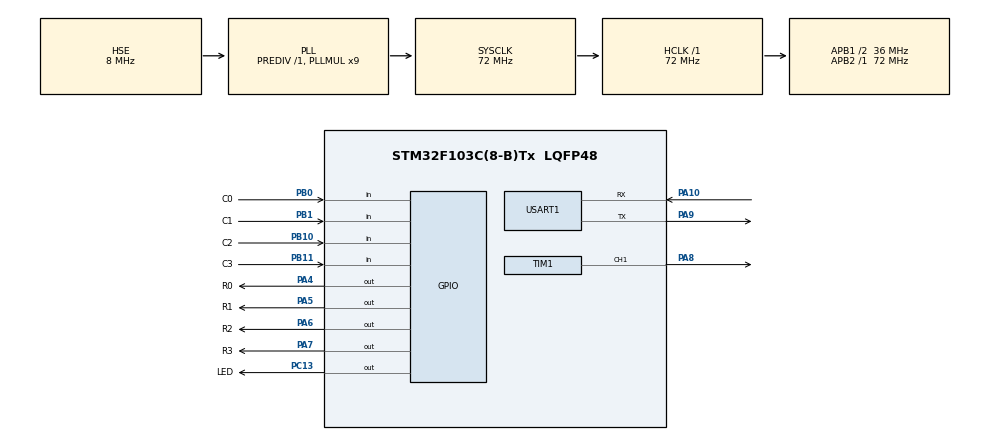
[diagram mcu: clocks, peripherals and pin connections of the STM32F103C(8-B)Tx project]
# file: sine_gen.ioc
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Mcu.Family=STM32F1
Mcu.Name=STM32F103C(8-B)Tx
Mcu.Package=LQFP48
NVIC.FLASH_IRQn=true\:0\:0\:false\:false\:true\:true
NVIC.PVD_IRQn=true\:0\:0\:false\:false\:true\:true
NVIC.PriorityGroup=NVIC_PRIORITYGROUP_4
NVIC.RCC_IRQn=true\:0\:0\:false\:false\:true\:true
NVIC.TIM1_BRK_IRQn=true\:0\:0\:false\:false\:true\:true
NVIC.TIM1_CC_IRQn=true\:0\:0\:false\:false\:true\:true
NVIC.TIM1_TRG_COM_IRQn=true\:0\:0\:false\:false\:true\:true
NVIC.TIM1_UP_IRQn=true\:0\:0\:false\:false\:true\:true
PA10.Mode=Asynchronous
PA10.Signal=USART1_RX
PA13.Mode=Serial_Wire
PA13.Signal=SYS_JTMS-SWDIO
PA14.Mode=Serial_Wire
PA14.Signal=SYS_JTCK-SWCLK
PA4.GPIO_Label=R0
PA4.Signal=GPIO_Output
PA5.GPIO_Label=R1
PA5.Signal=GPIO_Output
PA6.GPIO_Label=R2
PA6.Signal=GPIO_Output
PA7.GPIO_Label=R3
PA7.Signal=GPIO_Output
PA8.Signal=S_TIM1_CH1
PA9.Mode=Asynchronous
PA9.Signal=USART1_TX
PB0.GPIO_Label=C0
PB0.GPIO_PuPd=GPIO_PULLUP
PB0.Signal=GPIO_Input
PB1.GPIO_Label=C1
PB1.GPIO_PuPd=GPIO_PULLUP
PB1.Signal=GPIO_Input
PB10.GPIO_Label=C2
PB10.GPIO_PuPd=GPIO_PULLUP
PB10.Signal=GPIO_Input
PB11.GPIO_Label=C3
PB11.GPIO_PuPd=GPIO_PULLUP
PB11.Signal=GPIO_Input
PC13-TAMPER-RTC.GPIO_Label=LED
PC13-TAMPER-RTC.Signal=GPIO_Output
PD0-OSC_IN.Mode=HSE-External-Oscillator
PD0-OSC_IN.Signal=RCC_OSC_IN
PD1-OSC_OUT.Mode=HSE-External-Oscillator
PD1-OSC_OUT.Signal=RCC_OSC_OUT
ProjectManager.HeapSize=0x200
ProjectManager.StackSize=0x400
ProjectManager.TargetToolchain=SW4STM32
RCC.AHBFreq_Value=72000000
RCC.APB1CLKDivider=RCC_HCLK_DIV2
RCC.APB1Freq_Value=36000000
RCC.APB1TimFreq_Value=72000000
RCC.APB2Freq_Value=72000000
RCC.APB2TimFreq_Value=72000000
RCC.HCLKFreq_Value=72000000
RCC.PLLMUL=RCC_PLL_MUL9
RCC.PLLSourceVirtual=RCC_PLLSOURCE_HSE
RCC.SYSCLKFreq_VALUE=72000000
RCC.SYSCLKSource=RCC_SYSCLKSOURCE_PLLCLK
RCC.USBFreq_Value=72000000
SH.S_TIM1_CH1.0=TIM1_CH1,PWM Generation1 CH1
TIM1.Channel-PWM\ Generation1\ CH1=TIM_CHANNEL_1
TIM1.Period=359
TIM1.Prescaler=1
USART1.VirtualMode=VM_ASYNC
VP_TIM1_VS_ClockSourceINT.Mode=Internal
board=custom

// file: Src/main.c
/* USER CODE BEGIN Header */
/**
  ******************************************************************************
  * @file           : main.c
  * @brief          : Main program body
  ******************************************************************************
  ** This notice applies to any and all portions of this file
  * that are not between comment pairs USER CODE BEGIN and
  * USER CODE END. Other portions of this file, whether
  * inserted by the user or by software development tools
  * are owned by their respective copyright owners.
  *
  * COPYRIGHT(c) 2018 STMicroelectronics
  *
  * Redistribution and use in source and binary forms, with or without modification,
  * are permitted provided that the following conditions are met:
  *   1. Redistributions of source code must retain the above copyright notice,
  *      this list of conditions and the following disclaimer.
  *   2. Redistributions in binary form must reproduce the above copyright notice,
  *      this list of conditions and the following disclaimer in the documentation
  *      and/or other materials provided with the distribution.
  *   3. Neither the name of STMicroelectronics nor the names of its contributors
  *      may be used to endorse or promote products derived from this software
  *      without specific prior written permission.
  *
  * THIS SOFTWARE IS PROVIDED BY THE COPYRIGHT HOLDERS AND CONTRIBUTORS "AS IS"
  * AND ANY EXPRESS OR IMPLIED WARRANTIES, INCLUDING, BUT NOT LIMITED TO, THE
  * IMPLIED WARRANTIES OF MERCHANTABILITY AND FITNESS FOR A PARTICULAR PURPOSE ARE
  * DISCLAIMED. IN NO EVENT SHALL THE COPYRIGHT HOLDER OR CONTRIBUTORS BE LIABLE
  * FOR ANY DIRECT, INDIRECT, INCIDENTAL, SPECIAL, EXEMPLARY, OR CONSEQUENTIAL
  * DAMAGES (INCLUDING, BUT NOT LIMITED TO, PROCUREMENT OF SUBSTITUTE GOODS OR
  * SERVICES; LOSS OF USE, DATA, OR PROFITS; OR BUSINESS INTERRUPTION) HOWEVER
  * CAUSED AND ON ANY THEORY OF LIABILITY, WHETHER IN CONTRACT, STRICT LIABILITY,
  * OR TORT (INCLUDING NEGLIGENCE OR OTHERWISE) ARISING IN ANY WAY OUT OF THE USE
  * OF THIS SOFTWARE, EVEN IF ADVISED OF THE POSSIBILITY OF SUCH DAMAGE.
  *
  ******************************************************************************
  */
/* USER CODE END Header */

#include "main.h"

/* USER CODE BEGIN Includes */
#include "sinus.h"
#include "keyBoard.h"
/* USER CODE END Includes */

TIM_HandleTypeDef htim1;

UART_HandleTypeDef huart1;

void SystemClock_Config(void);
static void MX_GPIO_Init(void);
static void MX_TIM1_Init(void);
static void MX_USART1_UART_Init(void);

/* USER CODE BEGIN 0 */

static short * sinOnePointer;
static short * sinTwoPointer;

unsigned short sinOneLength;
unsigned short sinTwoLength;

unsigned short sinOneLicznik;
unsigned short sinTwoLicznik;

volatile bool debug = false;

void HAL_TIM_PWM_PulseFinishedCallback(TIM_HandleTypeDef *htim)
{
	if (htim->Instance == TIM1)
	{
		//if
		if (debug == false)
		{
			if (sinOneLength > 0 && sinTwoLength > 0)
			{
				short wynik = 0;

				sinOneLicznik ++;
				if (sinOneLicznik > sinOneLength ) sinOneLicznik = 0;

				sinTwoLicznik ++;
				if (sinTwoLicznik > sinTwoLength ) sinTwoLicznik = 0;

				wynik = sinOnePointer[sinOneLicznik] + sinTwoPointer[sinTwoLicznik];

				//wynik = sinTwoPointer[sinTwoLicznik];
				wynik /= 2;
				wynik += 180;

				TIM1->CCR1 = wynik;
			}
			else
			{
				TIM1->CCR1 = 0;
			}

		}
		else
		{
			if (sinOneLength > 0)
			{
				short wynik = 0;
				sinOneLicznik ++;
				if (sinOneLicznik > sinOneLength ) sinOneLicznik = 0;
				wynik = sinOnePointer[sinOneLicznik];
				wynik += 180;
				TIM1->CCR1 = wynik;
			}
			else
			{
				TIM1->CCR1 = 0;
			}

		}
	}
}

char DataToUart[50];
uint16_t UartSize = 0;
bool uartFlag = false;

void ButtonDown(uint8_t nrButton)
{
	if (debug == false)
	{
		switch (nrButton)
		{
		case 1:
			sinOnePointer = sin697;
			sinOneLength = sin697_len;

			sinTwoPointer = sin1209;
			sinTwoLength = sin1209_len;
			break;
		case 2:
			sinOnePointer = sin697;
			sinOneLength = sin697_len;

			sinTwoPointer = sin1336;
			sinTwoLength = sin1336_len;
			break;
		case 3:
			sinOnePointer = sin697;
			sinOneLength = sin697_len;

			sinTwoPointer = sin1477;
			sinTwoLength = sin1477_len;
			break;
		case 4:
			sinOnePointer = sin697;
			sinOneLength = sin697_len;

			sinTwoPointer = sin1633;
			sinTwoLength = sin1633_len;
			break;
		case 5:
			sinOnePointer = sin770;
			sinOneLength = sin770_len;

			sinTwoPointer = sin1209;
			sinTwoLength = sin1209_len;
			break;
		case 6:
			sinOnePointer = sin770;
			sinOneLength = sin770_len;

			sinTwoPointer = sin1336;
			sinTwoLength = sin1336_len;
			break;
		case 7:
			sinOnePointer = sin770;
			sinOneLength = sin770_len;

			sinTwoPointer = sin1477;
			sinTwoLength = sin1477_len;
			break;
		case 8:
			sinOnePointer = sin770;
			sinOneLength = sin770_len;

			sinTwoPointer = sin1633;
			sinTwoLength = sin1633_len;
			break;
		case 9:
			sinOnePointer = sin852;
			sinOneLength = sin852_len;

			sinTwoPointer = sin1209;
			sinTwoLength = sin1209_len;
			break;
		case 10:
			sinOnePointer = sin852;
			sinOneLength = sin852_len;

			sinTwoPointer = sin1336;
			sinTwoLength = sin1336_len;
			break;
		case 11:
			sinOnePointer = sin852;
			sinOneLength = sin852_len;

			sinTwoPointer = sin1477;
			sinTwoLength = sin1477_len;
			break;
		case 12:
			sinOnePointer = sin852;
			sinOneLength = sin852_len;

			sinTwoPointer = sin1633;
			sinTwoLength = sin1633_len;
			break;
		case 13:
			sinOnePointer = sin941;
			sinOneLength = sin941_len;

			sinTwoPointer = sin1209;
			sinTwoLength = sin1209_len;
			break;
		case 14:
			sinOnePointer = sin941;
			sinOneLength = sin941_len;

			sinTwoPointer = sin1336;
			sinTwoLength = sin1336_len;
			break;
		case 15:
			sinOnePointer = sin941;
			sinOneLength = sin941_len;

			sinTwoPointer = sin1477;
			sinTwoLength = sin1477_len;
			break;
		case 16:
			sinOnePointer = sin941;
			sinOneLength = sin941_len;

			sinTwoPointer = sin1633;
			sinTwoLength = sin1633_len;
			break;
		}
		sinOneLicznik = 0;
		sinTwoLicznik = 0;
	}
	else
	{
		if ( nrButton == 1) { sinOnePointer = sin697; sinOneLength = sin697_len; }
		else if (nrButton == 2) { sinOnePointer = sin770; sinOneLength = sin770_len; }
		else if (nrButton == 3) { sinOnePointer = sin852; sinOneLength = sin852_len; }
		else if (nrButton == 4) { sinOnePointer = sin941; sinOneLength = sin941_len; }
		else if (nrButton == 5) { sinOnePointer = sin1209; sinOneLength = sin1209_len; }
		else if (nrButton == 6) { sinOnePointer = sin1336; sinOneLength = sin1336_len; }
		else if (nrButton == 7) { sinOnePointer = sin1477; sinOneLength = sin1477_len; }
		else if (nrButton == 8) { sinOnePointer = sin1633; sinOneLength = sin1633_len; }

		sinOneLicznik = 0;
		sinTwoLicznik = 0;
	}

	UartSize = sprintf(DataToUart, "Down: %d\n\r", nrButton);
	uartFlag = true;
	HAL_GPIO_TogglePin(LED_GPIO_Port, LED_Pin);

}

void ButtonUp(uint8_t nrButton)
{
	sinOneLength = 0;
	sinTwoLength = 0;
}

void SysTick_MyHandler()
{
	eachInterrupt();
}
/* USER CODE END 0 */

int main(void)
{

  /* MCU Configuration--------------------------------------------------------*/

  /* Reset of all peripherals, Initializes the Flash interface and the Systick. */
  HAL_Init();

  /* Configure the system clock */
  SystemClock_Config();

  /* Initialize all configured peripherals */
  MX_GPIO_Init();
  MX_TIM1_Init();
  MX_USART1_UART_Init();
  /* USER CODE BEGIN 2 */
  HAL_TIM_Base_Start(&htim1);
  HAL_TIM_PWM_Start_IT(&htim1, TIM_CHANNEL_1);

  SetColumns(C0_GPIO_Port, C0_Pin, C1_GPIO_Port, C1_Pin, C2_GPIO_Port, C2_Pin, C3_GPIO_Port, C3_Pin);
  SetRows(R0_GPIO_Port, R0_Pin, R1_GPIO_Port, R1_Pin, R2_GPIO_Port, R2_Pin, R3_GPIO_Port, R3_Pin);
  SetCallbacks(&ButtonDown, &ButtonUp);

  TIM1->CCR1 = 180;
  /* USER CODE END 2 */

  /* Infinite loop */
  /* USER CODE BEGIN WHILE */
  while (1)
  {
	  	  if (uartFlag == true)
	  	  {
	  		  uartFlag = false;
	  		HAL_UART_Transmit (&huart1, (uint8_t *)DataToUart, UartSize, 10);
	  	  }
    /* USER CODE END WHILE */

  }
}

void SystemClock_Config(void)
{
  RCC_OscInitTypeDef RCC_OscInitStruct = {0};
  RCC_ClkInitTypeDef RCC_ClkInitStruct = {0};

  /**Initializes the CPU, AHB and APB busses clocks
  */
  RCC_OscInitStruct.OscillatorType = RCC_OSCILLATORTYPE_HSE;
  RCC_OscInitStruct.HSEState = RCC_HSE_ON;
  RCC_OscInitStruct.HSEPredivValue = RCC_HSE_PREDIV_DIV1;
  RCC_OscInitStruct.HSIState = RCC_HSI_ON;
  RCC_OscInitStruct.PLL.PLLState = RCC_PLL_ON;
  RCC_OscInitStruct.PLL.PLLSource = RCC_PLLSOURCE_HSE;
  RCC_OscInitStruct.PLL.PLLMUL = RCC_PLL_MUL9;
  if (HAL_RCC_OscConfig(&RCC_OscInitStruct) != HAL_OK)
  {
    Error_Handler();
  }
  /**Initializes the CPU, AHB and APB busses clocks
  */
  RCC_ClkInitStruct.ClockType = RCC_CLOCKTYPE_HCLK|RCC_CLOCKTYPE_SYSCLK
                              |RCC_CLOCKTYPE_PCLK1|RCC_CLOCKTYPE_PCLK2;
  RCC_ClkInitStruct.SYSCLKSource = RCC_SYSCLKSOURCE_PLLCLK;
  RCC_ClkInitStruct.AHBCLKDivider = RCC_SYSCLK_DIV1;
  RCC_ClkInitStruct.APB1CLKDivider = RCC_HCLK_DIV2;
  RCC_ClkInitStruct.APB2CLKDivider = RCC_HCLK_DIV1;

  if (HAL_RCC_ClockConfig(&RCC_ClkInitStruct, FLASH_LATENCY_2) != HAL_OK)
  {
    Error_Handler();
  }
}

static void MX_TIM1_Init(void)
{

  TIM_ClockConfigTypeDef sClockSourceConfig = {0};
  TIM_MasterConfigTypeDef sMasterConfig = {0};
  TIM_OC_InitTypeDef sConfigOC = {0};
  TIM_BreakDeadTimeConfigTypeDef sBreakDeadTimeConfig = {0};

  htim1.Instance = TIM1;
  htim1.Init.Prescaler = 0;
  htim1.Init.CounterMode = TIM_COUNTERMODE_UP;
  htim1.Init.Period = 359;
  htim1.Init.ClockDivision = TIM_CLOCKDIVISION_DIV1;
  htim1.Init.RepetitionCounter = 0;
  htim1.Init.AutoReloadPreload = TIM_AUTORELOAD_PRELOAD_DISABLE;
  if (HAL_TIM_Base_Init(&htim1) != HAL_OK)
  {
    Error_Handler();
  }
  sClockSourceConfig.ClockSource = TIM_CLOCKSOURCE_INTERNAL;
  if (HAL_TIM_ConfigClockSource(&htim1, &sClockSourceConfig) != HAL_OK)
  {
    Error_Handler();
  }
  if (HAL_TIM_PWM_Init(&htim1) != HAL_OK)
  {
    Error_Handler();
  }
  sMasterConfig.MasterOutputTrigger = TIM_TRGO_RESET;
  sMasterConfig.MasterSlaveMode = TIM_MASTERSLAVEMODE_DISABLE;
  if (HAL_TIMEx_MasterConfigSynchronization(&htim1, &sMasterConfig) != HAL_OK)
  {
    Error_Handler();
  }
  sConfigOC.OCMode = TIM_OCMODE_PWM1;
  sConfigOC.Pulse = 0;
  sConfigOC.OCPolarity = TIM_OCPOLARITY_HIGH;
  sConfigOC.OCNPolarity = TIM_OCNPOLARITY_HIGH;
  sConfigOC.OCFastMode = TIM_OCFAST_DISABLE;
  sConfigOC.OCIdleState = TIM_OCIDLESTATE_RESET;
  sConfigOC.OCNIdleState = TIM_OCNIDLESTATE_RESET;
  if (HAL_TIM_PWM_ConfigChannel(&htim1, &sConfigOC, TIM_CHANNEL_1) != HAL_OK)
  {
    Error_Handler();
  }
  sBreakDeadTimeConfig.OffStateRunMode = TIM_OSSR_DISABLE;
  sBreakDeadTimeConfig.OffStateIDLEMode = TIM_OSSI_DISABLE;
  sBreakDeadTimeConfig.LockLevel = TIM_LOCKLEVEL_OFF;
  sBreakDeadTimeConfig.DeadTime = 0;
  sBreakDeadTimeConfig.BreakState = TIM_BREAK_DISABLE;
  sBreakDeadTimeConfig.BreakPolarity = TIM_BREAKPOLARITY_HIGH;
  sBreakDeadTimeConfig.AutomaticOutput = TIM_AUTOMATICOUTPUT_DISABLE;
  if (HAL_TIMEx_ConfigBreakDeadTime(&htim1, &sBreakDeadTimeConfig) != HAL_OK)
  {
    Error_Handler();
  }
  HAL_TIM_MspPostInit(&htim1);

}

static void MX_USART1_UART_Init(void)
{

  huart1.Instance = USART1;
  huart1.Init.BaudRate = 115200;
  huart1.Init.WordLength = UART_WORDLENGTH_8B;
  huart1.Init.StopBits = UART_STOPBITS_1;
  huart1.Init.Parity = UART_PARITY_NONE;
  huart1.Init.Mode = UART_MODE_TX_RX;
  huart1.Init.HwFlowCtl = UART_HWCONTROL_NONE;
  huart1.Init.OverSampling = UART_OVERSAMPLING_16;
  if (HAL_UART_Init(&huart1) != HAL_OK)
  {
    Error_Handler();
  }

}

static void MX_GPIO_Init(void)
{
  GPIO_InitTypeDef GPIO_InitStruct = {0};

  /* GPIO Ports Clock Enable */
  __HAL_RCC_GPIOC_CLK_ENABLE();
  __HAL_RCC_GPIOD_CLK_ENABLE();
  __HAL_RCC_GPIOA_CLK_ENABLE();
  __HAL_RCC_GPIOB_CLK_ENABLE();

  /*Configure GPIO pin Output Level */
  HAL_GPIO_WritePin(LED_GPIO_Port, LED_Pin, GPIO_PIN_RESET);

  /*Configure GPIO pin Output Level */
  HAL_GPIO_WritePin(GPIOA, R0_Pin|R1_Pin|R2_Pin|R3_Pin, GPIO_PIN_RESET);

  /*Configure GPIO pin : LED_Pin */
  GPIO_InitStruct.Pin = LED_Pin;
  GPIO_InitStruct.Mode = GPIO_MODE_OUTPUT_PP;
  GPIO_InitStruct.Pull = GPIO_NOPULL;
  GPIO_InitStruct.Speed = GPIO_SPEED_FREQ_LOW;
  HAL_GPIO_Init(LED_GPIO_Port, &GPIO_InitStruct);

  /*Configure GPIO pins : R0_Pin R1_Pin R2_Pin R3_Pin */
  GPIO_InitStruct.Pin = R0_Pin|R1_Pin|R2_Pin|R3_Pin;
  GPIO_InitStruct.Mode = GPIO_MODE_OUTPUT_PP;
  GPIO_InitStruct.Pull = GPIO_NOPULL;
  GPIO_InitStruct.Speed = GPIO_SPEED_FREQ_LOW;
  HAL_GPIO_Init(GPIOA, &GPIO_InitStruct);

  /*Configure GPIO pins : C0_Pin C1_Pin C2_Pin C3_Pin */
  GPIO_InitStruct.Pin = C0_Pin|C1_Pin|C2_Pin|C3_Pin;
  GPIO_InitStruct.Mode = GPIO_MODE_INPUT;
  GPIO_InitStruct.Pull = GPIO_PULLUP;
  HAL_GPIO_Init(GPIOB, &GPIO_InitStruct);

}

void Error_Handler(void)
{
}

/************************ (C) COPYRIGHT STMicroelectronics *****END OF FILE****/
